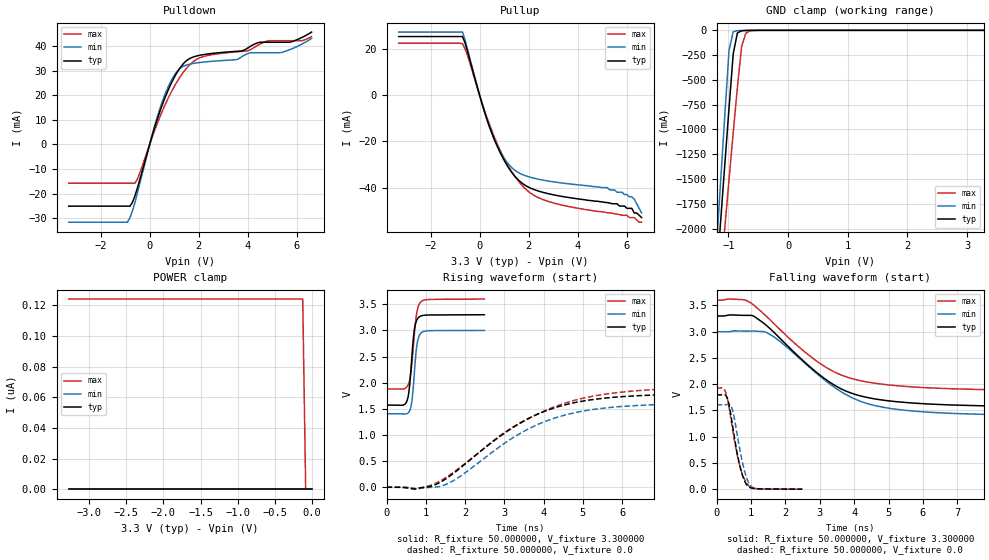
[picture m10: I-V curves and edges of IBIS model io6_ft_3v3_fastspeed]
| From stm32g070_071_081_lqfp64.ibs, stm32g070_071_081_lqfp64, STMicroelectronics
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|   Model io6_ft_3v3_fastspeed
[Model]  io6_ft_3v3_fastspeed
Model_type I/O
Polarity   Non-Inverting
Enable   Active-Low
Vinl =   0.990000V
Vinh =   2.310000V
Vmeas =  1.650000V
Cref =   30.000000pF
Rref =   100.000000M
Vref =   0.0V
C_comp   1.290400pF   1.272500pF   1.305600pF
[Temperature Range]   25.000000   -40.000000   0.125000k
[Pullup Reference]   3.300000V   3.000000V   3.600000V
[Pulldown Reference]   0.0V   0.0V   0.0V
[POWER Clamp Reference]   3.300000V   3.000000V   3.600000V
[GND Clamp Reference]   0.0V   0.0V   0.0V
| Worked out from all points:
|   slope of the pulldown table from 0 to 0.495 V, typ, clamps not added: 31.8 ohm
|   slope of the pullup table from 0 to 0.495 V, typ, clamps not added: 30.4 ohm
|   GND clamp passes 1 mA (typ) near -0.65 V on its own axis
|   rising waveform, R_fixture 50.000000, V_fixture 3.300000: 20-80 % time 115ps typ, 109ps min, 129ps max; typ from 1.57 V to 3.3 V
|   rising waveform, R_fixture 50.000000, V_fixture 0.0: 20-80 % time 2.11ns typ, 2.05ns min, 2.4ns max; typ from 0 V to 1.79 V
|   falling waveform, R_fixture 50.000000, V_fixture 3.300000: 20-80 % time 1.88ns typ, 1.91ns min, 1.95ns max; typ from 3.3 V to 1.57 V
|   falling waveform, R_fixture 50.000000, V_fixture 0.0: 20-80 % time 300ps typ, 289ps min, 333ps max; typ from 1.79 V to 0 V
[Pulldown]
|Voltage   I(typ)   I(min)   I(max)
-3.3V     -25.03mA   -31.54mA   -15.7mA
-900mV    -25.03mA   -31.54mA   -15.7mA
-700mV    -23.48mA   -26.96mA   -15.7mA
-500mV    -17.69mA   -19.75mA   -14.07mA
100mV     3.479mA    3.853mA    2.862mA
500mV     15.71mA    16.96mA    13.17mA
900mV     25.22mA    26.33mA    21.66mA
1.3V      31.91mA    31.32mA    28.29mA
2.2V      36.48mA    33.43mA    35.69mA
4.1V      39.78mA    37.21mA    38.43mA
5.4V      41.49mA    37.39mA    42.12mA
6.6V      45.6mA     43.04mA    43.74mA
[Pullup]
|Voltage   I(typ)   I(min)   I(max)
-3.3V     25.51mA    27.46mA    22.62mA
-700mV    25.51mA    27.46mA    22.41mA
-500mV    19.31mA    20.21mA    17.46mA
100mV     -3.672mA   -3.825mA   -3.371mA
600mV     -19.12mA   -19.15mA   -18.08mA
1.1V      -30.05mA   -28.81mA   -29.38mA
1.7V      -37.83mA   -34.15mA   -38.73mA
2.9V      -42.88mA   -37.32mA   -46.32mA
5.8V      -48mA      -42mA      -52mA
6.2V      -49mA      -44mA      -53mA
6.3V      -51mA      -45mA      -53mA
6.6V      -53mA      -51mA      -55mA
[GND_clamp]
|Voltage   I(typ)   I(min)   I(max)
-3.3V     -9.61A     -9.635A    -9.699A
-1.2V     -2.493A    -2.184A    -2.958A
-1.13V    -1.917A    -1.512A    -2.469A
-1.06V    -1.345A    -845.6mA   -1.983A
-990mV    -779.8mA   -200.2mA   -1.503A
-920mV    -235.5mA   -14.18mA   -1.03A
-850mV    -26.06mA   -3.338mA   -574.2mA
-780mV    -4.499mA   -1.808mA   -166.4mA
-710mV    -1.722mA   -869.6uA   -29.45mA
-640mV    -806.7uA   -283.7uA   -6.281mA
3.28V     0A         0A         0A
[POWER_clamp]
|Voltage   I(typ)   I(min)   I(max)
-3.28V    0A         0A         124nA
-120mV    0A         0A         124nA
-80mV     0A         0A         0A
0V        0A         0A         0A
[Ramp]
| variable   typ   min   max
dV/dt_r  1.07352/2.09694n   0.96084/2.04151n   1.14450/2.37865n
dV/dt_f  1.02888/1.86806n   0.94884/1.89123n   1.02270/1.92984n
R_load = 50.000000
[Rising Waveform]
R_fixture= 50.000000
V_fixture= 3.300000
V_fixture_min= 3.000000
V_fixture_max= 3.600000
|time   V(typ)   V(min)   V(max)
0s        1.571V     1.406V     1.88V
435.4ps   1.575V     1.402V     1.882V
515.5ps   1.643V     1.406V     1.917V
560.6ps   1.778V     1.429V     1.977V
635.6ps   2.387V     1.596V     2.295V
700.7ps   2.968V     2.105V     2.848V
760.8ps   3.18V      2.646V     3.292V
820.8ps   3.252V     2.874V     3.484V
1.026ns   3.293V     2.991V     3.588V
2.492ns   3.3V       3V         3.6V
[Rising Waveform]
R_fixture= 50.000000
V_fixture= 0.0
V_fixture_min= 0.0
V_fixture_max= 0.0
|time   V(typ)   V(min)   V(max)
0s        -2.688uV   -2.731uV   15.27uV
780.8ps   -23.26mV   -35.29mV   -32.34mV
1.181ns   31.85mV    -1.498mV   53.02mV
1.481ns   146.5mV    44.78mV    171.9mV
3.283ns   1.177V     976.1mV    1.168V
3.884ns   1.41V      1.21V      1.412V
4.645ns   1.595V     1.4V       1.631V
5.626ns   1.709V     1.521V     1.787V
6.627ns   1.758V     1.572V     1.86V
9.97ns    1.795V     1.607V     1.924V
[Falling Waveform]
R_fixture= 50.000000
V_fixture= 3.300000
V_fixture_min= 3.000000
V_fixture_max= 3.600000
|time   V(typ)   V(min)   V(max)
0s        3.3V       3V         3.6V
840.8ps   3.312V     3.011V     3.601V
1.081ns   3.297V     3.013V     3.509V
1.441ns   3.125V     2.989V     3.298V
2.943ns   2.206V     2.186V     2.425V
3.463ns   1.968V     1.925V     2.221V
4.044ns   1.802V     1.711V     2.088V
4.765ns   1.703V     1.57V      2.004V
5.786ns   1.637V     1.485V     1.944V
9.97ns    1.571V     1.406V     1.88V
[Falling Waveform]
R_fixture= 50.000000
V_fixture= 0.0
V_fixture_min= 0.0
V_fixture_max= 0.0
|time   V(typ)   V(min)   V(max)
0s        1.795V     1.607V     1.924V
250.2ps   1.796V     1.609V     1.869V
340.3ps   1.671V     1.617V     1.645V
435.4ps   1.335V     1.568V     1.271V
510.5ps   1.023V     1.376V     968mV
680.7ps   435.1mV    743.4mV    432.7mV
795.8ps   187mV      393.2mV    212.5mV
920.9ps   52.84mV    137.9mV    76.33mV
1.181ns   7.404mV    10.75mV    8.332mV
2.492ns   -2.688uV   -2.731uV   15.27uV
